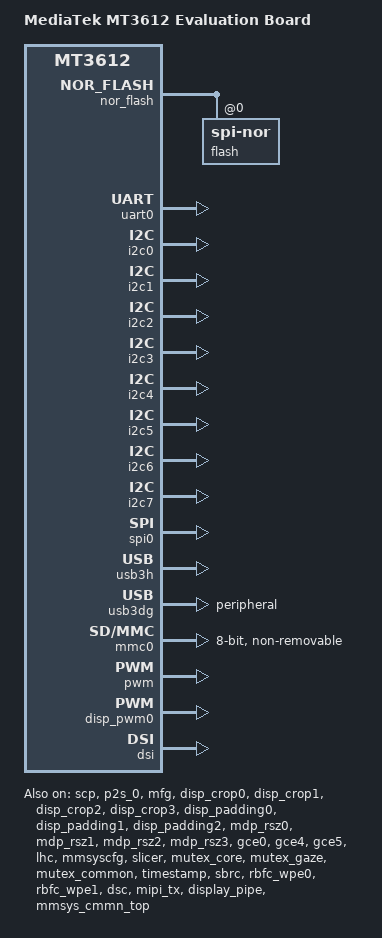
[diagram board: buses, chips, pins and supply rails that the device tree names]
/*
 * Copyright (c) 2018 MediaTek Inc.
 * Author: Yung-Chi Chen <yung-chi.chen@mediatek.com>
 *
 * This program is free software; you can redistribute it and/or modify
 * it under the terms of the GNU General Public License version 2 as
 * published by the Free Software Foundation.
 *
 * This program is distributed in the hope that it will be useful,
 * but WITHOUT ANY WARRANTY; without even the implied warranty of
 * MERCHANTABILITY or FITNESS FOR A PARTICULAR PURPOSE.  See the
 * GNU General Public License for more details.
 */

/dts-v1/;
#include "mt3612-fpga-system.dtsi"
#include "mt3612-fpga-peri.dtsi"
#include "mt3612-fpga-mm.dtsi"
#include "mt3612-fpga-camera-i2c.dtsi"
#include "mt3612-fpga-test.dtsi"
#include "mt3612-fpga-coresight.dtsi"

/ {
	model = "MediaTek MT3612 Evaluation Board";
	compatible = "mediatek,mt3612-evb", "mediatek,mt3612";
	interrupt-parent = <&sysirq>;
	#address-cells = <2>;
	#size-cells = <2>;

	aliases {
		serial0 = &uart0;
		spi0 = &spi0;
		spi1 = &spi1;
		spi2 = &spi2;
		spi3 = &spi3;
		spi4 = &spi4;
		spi5 = &spi5;
		spi6 = &spi6;
		spi7 = &spi7;
		spi8 = &spi8;
		spi9 = &spi9;
	};

	chosen {
		/*bootargs = "console=ttyS0,921600n1 initcall_debug=1 loglevel=8 androidboot.selinux=disabled"; */
		bootargs = "console=ttyS0,921600n1 root=/dev/ram auto_detect_partition init=/init earlycon=mtk8250,0x11020000,921600n8 loglevel=8";
		linux,stdout-path = "serial0";
		linux,initrd-start = <0x48000000>;
		linux,initrd-end = <0x4A000000>;
		lk,timestamp = <0x00000000>;
		linux,bootmode = "normal";
	};

	/*
	*sound: sound {
	*	compatible = "mediatek,mt3612-afe-machine";
	*	mediatek,platform = <&afe>;
	*	status = "okay";
	*};
	*/
};

&psci_cfg{
	compatible	= "arm,SHELL ONLY";
};

&cpus_cfg{
	#address-cells = <1>;
	#size-cells = <0>;

	cpu0: cpu@0 {
		device_type = "cpu";
		compatible = "arm,cortex-a35";
		reg = <0x000>;
		enable-method = "psci";
	};

};

&cqdma {
	status = "okay";
};

&apdma {
	status = "okay";
};

&uart_clk{
	clock-frequency = <6000000>;
};


&arm_timer {
	clock-frequency = <6000000>;
};

&nor_flash {
	status = "okay";
	flash@0 {
		compatible = "jedec,spi-nor";
		reg = <0>;
	};
};

&uart0 {
	clocks = <&uart_clk>;
	status = "okay";
};

&i2c0 {
	status = "okay";
};

&i2c1 {
	status = "okay";
};

&i2c2 {
	status = "okay";
};

&i2c3 {
	status = "okay";
};

&i2c4 {
	status = "okay";
};

&i2c5 {
	status = "okay";
};

&i2c6 {
	status = "okay";
};

&i2c7 {
	status = "okay";
};

&i2c11 {
	status = "disabled";
};

&i2c15 {
	status = "disabled";
};

&spi0 {
	status = "okay";
};

&scp {
	status = "okay";
	core_1 = "enable";
	scp_sramSize = <0x00040000>;	 /* scp_A_sram_size */
};

&p2s_0 {
	status = "okay";
};

&mfg {
	status = "okay";
};

&mdp_rdma {
	status = "okay";
};

&pvric_rdma {
	status = "okay";
};

&disp_rdma {
	status = "okay";
};

&disp_wdma0 {
	status = "okay";
};

&disp_wdma1 {
	status = "okay";
};

&disp_wdma2 {
	status = "okay";
};

&disp_wdma3 {
	status = "okay";
};

&disp_crop0 {
	status = "okay";
};

&disp_crop1 {
	status = "okay";
};

&disp_crop2 {
	status = "okay";
};

&disp_crop3 {
	status = "okay";
};

&disp_padding0 {
	status = "okay";
};

&disp_padding1 {
	status = "okay";
};

&disp_padding2 {
	status = "okay";
};

&mdp_rsz0 {
	status = "okay";
};

&mdp_rsz1 {
	status = "okay";
};

&mdp_rsz2 {
	status = "okay";
};

&mdp_rsz3 {
	status = "okay";
};

&gce0 {
	status = "okay";
};

&gce4 {
	status = "okay";
};

&gce5 {
	status = "okay";
};

/*
*&u3phy0 {
*	status = "okay";
*};
*
*&u3phy2 {
*	status = "okay";
*};
*/

&usb3h {
	status = "okay";
};


&usb3dg {
	dr_mode = "peripheral";
	status = "okay";
};


/*
*&dprx {
*	status = "okay";
*};
*
*&dprxphy {
*	status = "okay";
*};
*/

&lhc {
	status = "okay";
};

&mmsyscfg {
	status = "okay";
};

&slicer {
	status = "okay";
};

&mutex_core {
	status = "okay";
};

&mutex_gaze {
	status = "okay";
};

&mutex_common {
	status = "okay";
};

&mmc0 {
	clk_src = /bits/ 8 <MSDC50_CLKSRC_400MHZ>;
	bus-width = <8>;
	max-frequency = <26000000>;
	cap-mmc-highspeed;
	msdc-sys-suspend;
	mmc-ddr-1_8v;
	mmc-hs200-1_8v;
	mmc-hs400-1_8v;
	non-removable;
	/*
	 * pinctl = <&mmc0_pins_default>;
	 * register_setting = <&mmc0_register_setting_default>;
	 */
	host_function = /bits/ 8 <MSDC_EMMC>;
	bootable;
	status = "okay";
};

&pwm {
	status = "okay";
};
&disp_pwm0 {
	status = "okay";
};

&timestamp {
	status = "okay";
};

&sbrc {
	status = "okay";
};

&mm_sysram2 {
	status = "okay";
};
/*
&fe {
	status = "okay";
};

&fm {
	status = "okay";
};
*/
&common_wdma0 {
	status = "okay";
};

&common_wdma1 {
	status = "okay";
};

&common_wdma2 {
	status = "okay";
};

&gaze_wdma0 {
	status = "okay";
};

&rbfc_rdma {
	status = "okay";
};

&rbfc_wpe0 {
	status = "okay";
};

&rbfc_wpe1 {
	status = "okay";
};

&dsc {
	status = "okay";
};

&mipi_tx {
	reg = <0 0x1402e000 0 0x1000>;
	status = "okay";
};

&dsi {
	status = "okay";
};

&display_pipe {
	status = "okay";
};

&mmsys_cmmn_top {
	status = "okay";
};
/*
&warpa0 {
	status = "okay";
};

&warpa1 {
	status = "okay";
};
*/
